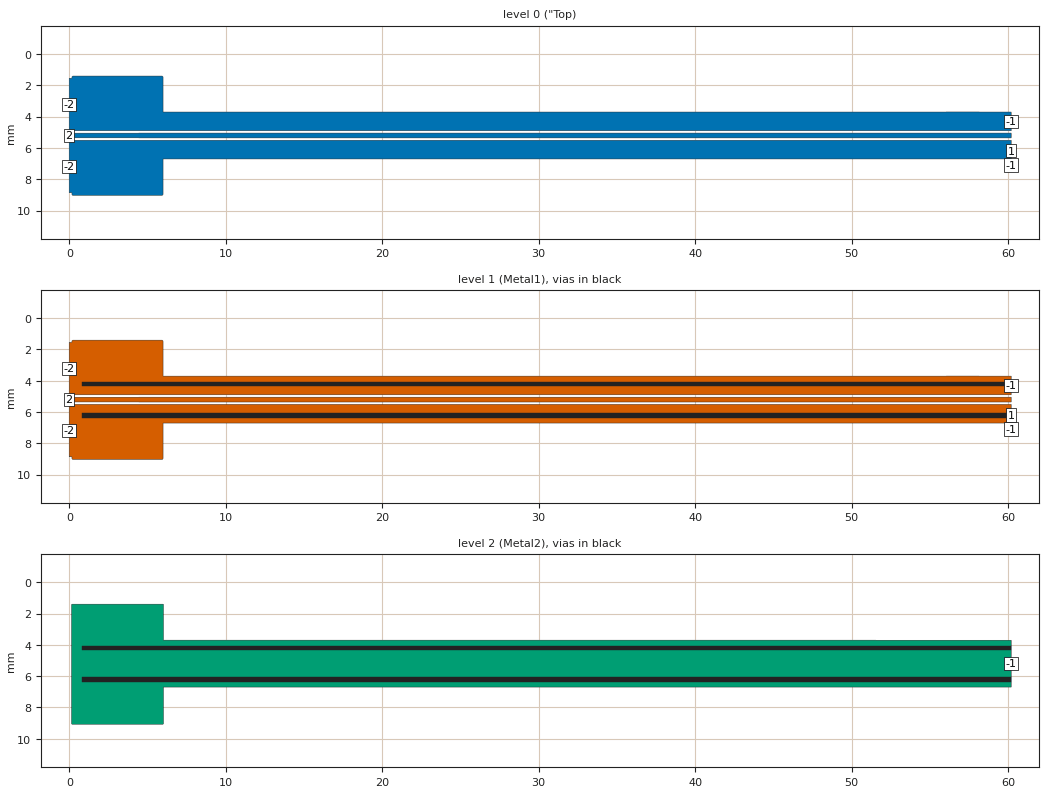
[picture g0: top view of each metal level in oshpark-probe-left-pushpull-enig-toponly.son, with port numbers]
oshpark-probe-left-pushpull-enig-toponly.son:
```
FTYP SONPROJ 18 ! Sonnet Project File
VER 17.56
HEADER
LIC antikernel2.1.50170 3cfdfeabd719 havequick azonenberg Level3Gold
DAT 02/20/2021 23:32:13
BUILT_BY_CREATED dxf 17.52.2 05/01/2020 05:35:06
BUILT_BY_SAVED sonnet 17.56
MDATE 02/18/2021 12:16:16
HDATE 02/18/2021 12:16:16
ANN Created by dxfgeo, Sonnet Software Inc.
END HEADER
DIM
ANG DEG
CAP PF
CON /OH
FREQ GHZ
IND NH
LNG MM
RES OH
END DIM
CONTROL
VARSWP
OPTIONS  -dj
SPEED 1
CACHE_ABS 1
Q_ACC N
END CONTROL
GEO
TMET "Free Space" 0 FREESPACE 376.7303136 0 0 0
BMET "Free Space" 0 FREESPACE 376.7303136 0 0 0
MET "Copper 1oz thick" 2 TMM 58000000 0.5 0.035 2
MET "Nickel " 3 TMM 14300000 0.5 3.5e-05 2
MET "Copper 0.5oz" 1 NOR 58000000 0.5 0.0175 
MET "Unknown_metal" 1 NOR INF 0.5 0 
MET "Ni-P thin" 11 NOR 500000 0.5 0.0005 
MET "Unknown_metal" 1 VOL INF 0
BRI "Alumina (96%)" 0 9.4 0.0004 0 
BRI "Alumina (99.5%)" 0 9.9 0.0001 0 
BRI "Aluminum Nitride" 0 8.6 0.0003 0 
BRI "Arlon 25FR" 0 3.58 0.0035 0 
BRI "Arlon 25N" 0 3.38 0.0025 0 
BRI "Arlon AD5" 0 5.1 0.003 0 
BRI "Arlon AD10" 0 10.2 0.005 0 
BRI "Arlon AD250" 0 2.5 0.0018 0 
BRI "Arlon AD255A" 0 2.55 0.0015 0 
BRI "Arlon AD260A" 0 2.6 0.0018 0 
BRI "Arlon AD270" 0 2.7 0.0023 0 
BRI "Arlon AD300A" 0 3 0.002 0 
BRI "Arlon AD320A" 0 3.2 0.0032 0 
BRI "Arlon AD350A" 0 3.5 0.003 0 
BRI "Arlon AD410" 0 4.1 0.003 0 
BRI "Arlon AD430" 0 4.3 0.003 0 
BRI "Arlon AD450" 0 4.5 0.0035 0 
BRI "Arlon AD600" 0 6.15 0.003 0 
BRI "Arlon AD1000" 0 10.2 0.0023 0 
BRI "Arlon AR1000" 0 9.8 0.003 0 
BRI "Arlon CLTE" 0 2.96 0.0023 0 
BRI "Arlon CLTE-AT" 0 3 0.0013 0 
BRI "Arlon CLTE-P" 0 2.94 0.0025 0 
BRI "Arlon CLTE-XT" 0 2.94 0.0012 0 
BRI "Arlon Cu 217LX" 0 2.17 0.0009 0 
BRI "Arlon Cu 233LX" 0 2.33 0.0013 0 
BRI "Arlon Cu 250GT" 0 2.5 0.001 0 
BRI "Arlon Cu 250GX" 0 2.5 0.0018 0 
BRI "Arlon Cu 6250" 0 2.32 0.0013 0 
BRI "Arlon Cu 6700" 0 2.35 0.0025 0 
BRI "Arlon Di 522" 0 2.5 0.001 0 
BRI "Arlon Di 527" 0 2.5 0.0018 0 
BRI "Arlon Di 870" 0 2.33 0.0013 0 
BRI "Arlon Di 880" 0 2.17 0.0009 0 
BRI "Arlon Iso 917" 0 2.17 0.0013 0 
BRI "Arlon Iso 933" 0 2.33 0.0016 0 
BRI "Arlon Multi HF" 0 3.7 0.004 0 
BRI "Arlon TC350" 0 3.5 0.002 0 
BRI "Arlon TC600" 0 6.15 0.002 0 
BRI "Beryllia (99.5%)" 0 6.5 0.0004 0 
BRI "CEM-1" 0 4.5 0.02 0 
BRI "CEM-3" 0 4.5 0.02 0 
BRI "Dupont 9K7" 0 7.1 0.0012 0 
BRI "Dupont 943" 0 7.4 0.002 0 
BRI "Dupont 951" 0 7.8 0.006 0 
BRI "Dupont FEP" 0 2 0.0005 0 
BRI "Dupont Vacrel" 0 3.8 0.011 0 
BRI "ESL 41010" 0 7.5 0.005 0 
BRI "ESL 41020" 0 7.25 0.005 0 
BRI "ESL 41050" 0 13.5 0.002 0 
BRI "ESL 41060" 0 16.5 0.002 0 
BRI "ESL 41110" 0 4.5 0.004 0 
BRI "Ferro A6M" 0 5.9 0.002 0 
BRI "Ferro A6S" 0 5.9 0.002 0 
BRI "Ferro L8" 0 7.3 0.0018 0 
BRI "FR-4" 0 4.4 0.02 0 
BRI "G-10" 0 4.8 0.025 0 
BRI "Gallium Arsenide" 0 12.9 0.006 0 
BRI "Gallium Nitride" 0 9.7 0 0 
BRI "Glass (Pyrex)" 0 4.82 0.0054 0 
BRI "Heraeus HL2000" 0 7.3 0.0026 0 
BRI "Isola 370HR" 0 4.04 0.021 0 
BRI "Isola FR408" 0 3.77 0.0116 0 
BRI "Isola FR408HR" 0 3.68 0.0092 0 
BRI "Isola Getek" 0 3.6 0.01 0 
BRI "Isola GI-180" 0 3.7 0.013 0 
BRI "Isola IS415" 0 3.82 0.0125 0 
BRI "Isola IS620i" 0 3.58 0.006 0 
BRI "Isola IS680-280" 0 2.8 0.0025 0 
BRI "Isola IS680-300" 0 3 0.003 0 
BRI "Isola IS680-320" 0 3.2 0.003 0 
BRI "Isola IS680-333" 0 3.33 0.003 0 
BRI "Isola IS680-338" 0 3.38 0.0032 0 
BRI "Isola IS680-345" 0 3.45 0.0036 0 
BRI "Kerafol CT800" 0 5.3 0.008 0 
BRI "Nelco MW9350" 0 3.7 0.004 0 
BRI "Nelco N4000-12" 0 3.7 0.008 0 
BRI "Nelco N4000-13" 0 3.7 0.009 0 
BRI "Nelco N4000-13SI" 0 3.2 0.007 0 
BRI "Nelco N4000-13EP" 0 3.7 0.008 0 
BRI "Nelco N4350-13RF" 0 3.5 0.0065 0 
BRI "Nelco N4380-13RF" 0 3.8 0.007 0 
BRI "Nelco N9300-13RF" 0 3 0.004 0 
BRI "Nelco N9320-13RF" 0 3.2 0.0045 0 
BRI "Nelco N9338-13RF" 0 3.38 0.0046 0 
BRI "Nelco N9350-13RF" 0 3.48 0.0055 0 
BRI "Nelco NH9294" 0 2.94 0.0022 0 
BRI "Nelco NH9300" 0 3 0.0023 0 
BRI "Nelco NH9320" 0 3.2 0.0024 0 
BRI "Nelco NH9338" 0 3.38 0.0025 0 
BRI "Nelco NH9348" 0 3.48 0.003 0 
BRI "Nelco NH9350" 0 3.5 0.003 0 
BRI "Nelco NH9410" 0 4.1 0.003 0 
BRI "Nelco NH9450" 0 4.5 0.003 0 
BRI "Nelco NX9240" 0 2.4 0.0016 0 
BRI "Nelco NX9245" 0 2.45 0.0016 0 
BRI "Nelco NX9250" 0 2.5 0.0017 0 
BRI "Nelco NX9255" 0 2.55 0.0018 0 
BRI "Nelco NX9260" 0 2.6 0.0019 0 
BRI "Nelco NY9208" 0 2.08 0.0006 0 
BRI "Nelco NY9217" 0 2.17 0.0008 0 
BRI "Nelco NY9220" 0 2.2 0.0009 0 
BRI "Nelco NY9233" 0 2.33 0.0011 0 
BRI "PET" 0 3.37 0.0208 0 
BRI "Polyimide" 0 3.5 0.003 0 
BRI "Quartz (Fused)" 0 3.78 0.0001 0 
BRI "Rogers 3001" 0 2.28 0.003 0 
BRI "Rogers RO2808" 0 7.6 0.0015 0 
BRI "Rogers RO3003" 0 3 0.0013 0 
BRI "Rogers RO3006" 0 6.5 0.002 0 
BRI "Rogers RO3010" 0 11.2 0.0022 0 
BRI "Rogers RO3035" 0 3.6 0.0018 0 
BRI "Rogers RO3203" 0 3.02 0.0016 0 
BRI "Rogers RO3206" 0 6.6 0.0027 0 
BRI "Rogers RO3210" 0 10.8 0.0027 0 
BRI "Rogers RO3730" 0 3 0.0016 0 
BRI "Rogers RO4003C" 0 3.55 0.0029 0 
BRI "Rogers RO4533" 0 3.45 0.0029 0 
BRI "Rogers RO4534" 0 3.4 0.003 0 
BRI "Rogers RO4350B" 0 3.66 0.0037 0 
BRI "Rogers RO4350BTX" 0 3.66 0.0034 0 
BRI "Rogers RO4360" 0 6.15 0.0038 0 
BRI "Rogers RO4450B-3.6" 0 3.3 0.0043 0 
BRI "Rogers RO4450B-4" 0 3.54 0.004 0 
BRI "Rogers RO4450F" 0 3.52 0.0041 0 
BRI "Rogers RO4730" 0 3 0.0033 0 
BRI "Rogers RT5870" 0 2.33 0.0012 0 
BRI "Rogers RT5880" 0 2.2 0.0009 0 
BRI "Rogers RT5880LZ" 0 1.96 0.0019 0 
BRI "Rogers RT6002" 0 2.94 0.0012 0 
BRI "Rogers RT6006" 0 6.15 0.0027 0 
BRI "Rogers RT6010LM" 0 10.9 0.0023 0 
BRI "Rogers RT6035HTC" 0 3.6 0.0013 0 
BRI "Rogers RT6202" 0 2.94 0.0015 0 
BRI "Rogers RT6202PR" 0 2.95 0.0015 0 
BRI "Rogers Syron7000" 0 3.4 0.0045 0 
BRI "Rogers Syron7100-2" 0 3.61 0.006 0 
BRI "Rogers Syron7100-4" 0 3.39 0.005 0 
BRI "Rogers Theta" 0 4.01 0.0118 0 
BRI "Rogers TMM 3" 0 3.39 0.002 0 
BRI "Rogers TMM 4" 0 4.5 0.002 0 
BRI "Rogers TMM 6" 0 6 0.0023 0 
BRI "Rogers TMM 10" 0 9.56 0.0022 0 
BRI "Rogers TMM 10i" 0 9.96 0.002 0 
BRI "Rogers UL2000" 0 2.5 0.0019 0 
BRI "Rogers UL3850" 0 3.05 0.0025 0 
BRI "Rogers UL3908" 0 2.9 0.0025 0 
BRI "Rogers XT8000" 0 3.34 0.0035 0 
BRI "Rogers XT8100-2" 0 3.54 0.0049 0 
BRI "Rogers XT8100-4" 0 3.32 0.0038 0 
BRI "Silicon (intrinsic)" 0 11.9 0.004 0.00044 
BRI "Silicon Dioxide" 0 3.9 0 0 
BRI "Silicon Nitride" 0 7.5 0 0 
BRI "Taconic CER-10" 0 10 0.0035 0 
BRI "Taconic FastFilm" 0 2.7 0.0012 0 
BRI "Taconic Fastrise-DS" 0 2.96 0.0018 0 
BRI "Taconic Fastrise27" 0 2.7 0.0014 0 
BRI "Taconic Fastrise77" 0 7.7 0.0034 0 
BRI "Taconic FEP" 0 2 0.0003 0 
BRI "Taconic RF-30" 0 3 0.0014 0 
BRI "Taconic RF-35" 0 3.5 0.0018 0 
BRI "Taconic RF-35A2" 0 3.5 0.0011 0 
BRI "Taconic RF-35P" 0 3.5 0.0025 0 
BRI "Taconic RF-41" 0 4.1 0.0038 0 
BRI "Taconic RF-43" 0 4.3 0.0033 0 
BRI "Taconic RF-45" 0 4.5 0.0037 0 
BRI "Taconic RF-60A" 0 6.15 0.0038 0 
BRI "Taconic RF-301" 0 2.97 0.0012 0 
BRI "Taconic TacBond HT" 0 2.35 0.0025 0 
BRI "Taconic TLA-6" 0 2.62 0.0012 0 
BRI "Taconic TLC-27" 0 2.75 0.003 0 
BRI "Taconic TLC-30" 0 3 0.003 0 
BRI "Taconic TLC-32" 0 3.2 0.003 0 
BRI "Taconic TLE-95" 0 2.95 0.0028 0 
BRI "Taconic TLF-34" 0 3.4 0.002 0 
BRI "Taconic TLF-35" 0 3.5 0.002 0 
BRI "Taconic TLP-3" 0 2.33 0.0009 0 
BRI "Taconic TLP-5" 0 2.2 0.0009 0 
BRI "Taconic TLP-5A" 0 2.17 0.0009 0 
BRI "Taconic TLT-0" 0 2.45 0.0006 0 
BRI "Taconic TLT-9" 0 2.5 0.0006 0 
BRI "Taconic TLT-8" 0 2.55 0.0006 0 
BRI "Taconic TLT-7" 0 2.6 0.0006 0 
BRI "Taconic TLT-6" 0 2.65 0.0006 0 
BRI "Taconic TLX-0" 0 2.45 0.0019 0 
BRI "Taconic TLX-9" 0 2.5 0.0019 0 
BRI "Taconic TLX-8" 0 2.55 0.0019 0 
BRI "Taconic TLX-7" 0 2.6 0.0019 0 
BRI "Taconic TLX-6" 0 2.65 0.0019 0 
BRI "Taconic TLY-3" 0 2.33 0.0009 0 
BRI "Taconic TLY-3F" 0 2.33 0.0009 0 
BRI "Taconic TLY-5" 0 2.2 0.0009 0 
BRI "Taconic TLY-5-L" 0 2.2 0.0009 0 
BRI "Taconic TLY-5A" 0 2.17 0.0009 0 
BRI "Taconic TLY-5A-L" 0 2.17 0.0009 0 
BRI "Taconic TPG-30" 0 3 0.0038 0 
BRI "Taconic TPG-32" 0 3.2 0.005 0 
BRI "Taconic TPG-35" 0 3.5 0.005 0 
BRI "Taconic TRF-41" 0 4.1 0.0035 0 
BRI "Taconic TRF-43" 0 4.3 0.0035 0 
BRI "Taconic TRF-45" 0 4.5 0.0035 0 
BRI "Taconic TSM-DS" 0 2.85 0.001 0 
BRI "Taconic TSM-DS3" 0 3 0.0011 0 
BRI "Taconic TSM-26" 0 2.6 0.0014 0 
BRI "Taconic TSM-29" 0 2.94 0.0013 0 
BRI "Taconic TSM-30" 0 3 0.0013 0 
BRI "Teflon (PTFE)" 0 2.08 0.0004 0 
BOX 3 60.2 10 2408 2000 20 0
      1 1 1 0 0 0 0 "Air"
      0.035 1 1 0 0 0 0 "Air"
      0.166 3.6 1 0.0092 0 0 0 "Isola FR408HR"
      1 1 1 0 0 0 0 "Air"
TECHLAY METAL "Top Plating" <UNSPECIFIED> -5 0 
0 0 4 N 2448 1 1 100 100 0 0 0 Y
END
END
TECHLAY METAL Metal1 BLACK -2 0 
1 0 0 N 2457 1 1 100 100 0 0 0 Y
END
END
TECHLAY VIA Via1 <UNSPECIFIED> -4 0 
VIA POLYGON
2 0 -1 N 2480 1 1 100 100 0 0 0 Y
TOLEVEL 1 RING NOCOVERS
END
END
TECHLAY METAL Metal2 BLACK -3 0 
2 0 2 N 2468 1 1 100 100 0 0 0 Y
END
END
LORGN 0 10 U 
POR1 BOX
POLY 2222 1
39
-2 50 0 0 0 -0.013425 3.225 
POR1 BOX
POLY 2222 1
41
-1 50 0 0 0 60.2 4.3025 
POR1 BOX
POLY 2225 1
5
2 50 0 0 0 -0.013425 5.205 
POR1 BOX
POLY 2225 1
11
1 50 0 0 0 60.2 5.205 
POR1 BOX
POLY 2226 1
19
-2 50 0 0 0 -0.013425 7.185 
POR1 BOX
POLY 2226 1
17
-1 50 0 0 0 60.2 6.1075 
POR1 BOX
POLY 1963 1
39
-2 50 0 0 0 -0.013425 3.225 
POR1 BOX
POLY 1963 1
41
-1 50 0 0 0 60.2 4.3025 
POR1 BOX
POLY 1964 1
5
2 50 0 0 0 -0.013425 5.205 
POR1 BOX
POLY 1964 1
11
1 50 0 0 0 60.2 5.205 
POR1 BOX
POLY 1965 1
19
-2 50 0 0 0 -0.013425 7.185 
POR1 BOX
POLY 1965 1
17
-1 50 0 0 0 60.2 6.1075 
POR1 BOX
POLY 1966 1
13
-1 50 0 0 0 60.2 5.202 
NUM 9
0 43 4 N 2222 1 1 100 100 0 0 0 Y
TLAYNAM "Top Plating" INH
USER_DAT FromImport
60.2 3.705
58.15 3.705
58.15 3.7
56.05 3.7
56.05 3.705
5.987575 3.705
5.98734423 3.704923077
5.98689758 3.704677419
5.986575 3.704090909
5.986575 1.476
5.984575 1.462
5.982575 1.455
5.979575 1.448
5.975575 1.441
5.971575 1.435
5.967575 1.43
5.961575 1.424
5.956575 1.42
5.950575 1.416
5.943575 1.412
5.936575 1.409
5.929575 1.407
5.915575 1.405
0.232575 1.405
0.218575 1.407
0.211575 1.409
0.204575 1.412
0.197575 1.416
0.191575 1.42
0.186575 1.424
0.180575 1.43
0.176575 1.435
0.172575 1.441
0.168575 1.448
0.165575 1.455
0.163575 1.462
0.161575 1.476
0.161575 1.484
0.161575 1.55
-0.013425 1.55
-0.013425 4.9
60.2 4.9
60.2 3.705
END
0 13 4 N 2225 1 1 100 100 0 0 0 Y
TLAYNAM "Top Plating" INH
USER_DAT FromImport
60.2 5.05
4.453575 5.05
4.438575 5.051
4.423575 5.054
4.420775 5.055
-0.013425 5.055
-0.013425 5.355
4.420775 5.355
4.423575 5.356
4.438575 5.359
4.453575 5.36
60.2 5.36
60.2 5.05
END
0 39 4 N 2226 1 1 100 100 0 0 0 Y
TLAYNAM "Top Plating" INH
USER_DAT FromImport
5.929575 9.028
5.936575 9.026
5.943575 9.023
5.950575 9.019
5.956575 9.015
5.961575 9.011
5.967575 9.005
5.971575 9
5.975575 8.994
5.979575 8.987
5.982575 8.98
5.984575 8.973
5.986575 8.959
5.986575 6.706
5.98665192 6.70576923
5.98689758 6.70532258
5.98748409 6.705
60.2 6.705
60.2 5.51
-0.013425 5.51
-0.013425 8.86
0.161575 8.86
0.161575 8.951
0.161575 8.959
0.163575 8.973
0.165575 8.98
0.168575 8.987
0.172575 8.994
0.176575 9
0.180575 9.005
0.186575 9.011
0.191575 9.015
0.197575 9.019
0.204575 9.023
0.211575 9.026
0.218575 9.028
0.232575 9.03
5.915575 9.03
5.929575 9.028
END
1 43 0 N 1963 1 1 100 100 0 0 0 Y
TLAYNAM Metal1 INH
USER_DAT FromImport
60.2 3.705
58.15 3.705
58.15 3.7
56.05 3.7
56.05 3.705
5.987575 3.705
5.98734423 3.704923077
5.98689758 3.704677419
5.986575 3.704090909
5.986575 1.476
5.984575 1.462
5.982575 1.455
5.979575 1.448
5.975575 1.441
5.971575 1.435
5.967575 1.43
5.961575 1.424
5.956575 1.42
5.950575 1.416
5.943575 1.412
5.936575 1.409
5.929575 1.407
5.915575 1.405
0.232575 1.405
0.218575 1.407
0.211575 1.409
0.204575 1.412
0.197575 1.416
0.191575 1.42
0.186575 1.424
0.180575 1.43
0.176575 1.435
0.172575 1.441
0.168575 1.448
0.165575 1.455
0.163575 1.462
0.161575 1.476
0.161575 1.484
0.161575 1.55
-0.013425 1.55
-0.013425 4.9
60.2 4.9
60.2 3.705
END
1 13 0 N 1964 1 1 100 100 0 0 0 Y
TLAYNAM Metal1 INH
USER_DAT FromImport
60.2 5.05
4.453575 5.05
4.438575 5.051
4.423575 5.054
4.420775 5.055
-0.013425 5.055
-0.013425 5.355
4.420775 5.355
4.423575 5.356
4.438575 5.359
4.453575 5.36
60.2 5.36
60.2 5.05
END
1 39 0 N 1965 1 1 100 100 0 0 0 Y
TLAYNAM Metal1 INH
USER_DAT FromImport
5.929575 9.028
5.936575 9.026
5.943575 9.023
5.950575 9.019
5.956575 9.015
5.961575 9.011
5.967575 9.005
5.971575 9
5.975575 8.994
5.979575 8.987
5.982575 8.98
5.984575 8.973
5.986575 8.959
5.986575 6.706
5.98665192 6.70576923
5.98689758 6.70532258
5.98748409 6.705
60.2 6.705
60.2 5.51
-0.013425 5.51
-0.013425 8.86
0.161575 8.86
0.161575 8.951
0.161575 8.959
0.163575 8.973
0.165575 8.98
0.168575 8.987
0.172575 8.994
0.176575 9
0.180575 9.005
0.186575 9.011
0.191575 9.015
0.197575 9.019
0.204575 9.023
0.211575 9.026
0.218575 9.028
0.232575 9.03
5.915575 9.03
5.929575 9.028
END
VIA POLYGON
2 5 -1 N 1967 1 1 100 100 0 0 0 Y
TOLEVEL 1 RING NOCOVERS
TLAYNAM Via1 INH
USER_DAT FromImport
60.2 4.055
0.836575 4.055
0.836575 4.355
60.2 4.355
60.2 4.055
END
VIA POLYGON
2 5 -1 N 1968 1 1 100 100 0 0 0 Y
TOLEVEL 1 RING NOCOVERS
TLAYNAM Via1 INH
USER_DAT FromImport
60.2 6.055
0.836575 6.055
0.836575 6.355
60.2 6.355
60.2 6.055
END
2 59 2 N 1966 1 1 100 100 0 0 0 Y
TLAYNAM Metal2 INH
5.97449989 9.07400055
5.97949905 9.07199974
5.98350067 9.07000084
5.98849983 9.06800003
5.99649925 9.06199951
5.99949951 9.05899925
6.00550003 9.05099983
6.00750084 9.04600067
6.00949974 9.04199905
6.01150055 9.03699989
6.0125 9.03200073
6.0125 6.70099945
6.01349945 6.7
60.2 6.7
60.2 3.704
51.55 3.704
51.55 3.7
6.0125 3.7
6.0125 3.69300003
6.01550026 1.456999969
6.01550026 1.443000031
6.01349945 1.432999802
6.01150055 1.429000092
6.00850029 1.424000931
6.00649948 1.419999313
6.00349922 1.415999603
6.00249977 1.415999603
5.99949951 1.412999344
5.99150009 1.407000732
5.98750038 1.404999924
5.98249931 1.402999115
5.9784996 1.401000214
5.97350044 1.400000763
0.18050022 1.400000763
0.17550011 1.401000214
0.17049999 1.402999115
0.16650028 1.404999924
0.16150017 1.407000732
0.15349979 1.412999344
0.15049953 1.415999603
0.14449997 1.424000931
0.14250011 1.429000092
0.14050026 1.432999802
0.1385004 1.43800087
0.1375 1.443000031
0.1375 9.03200073
0.1385004 9.03699989
0.14050026 9.04199905
0.14250011 9.04600067
0.14449997 9.05099983
0.15049953 9.05899925
0.15349979 9.06199951
0.16150017 9.06800003
0.16650028 9.07000084
0.17049999 9.07199974
0.17550011 9.07400055
0.18050022 9.075
5.96950073 9.075
5.97449989 9.07400055
END
END GEO
OPT
MAX 100
END OPT
VARSWP
ENABLED Y
FREQ N AY ABS_ENTRY 0.1 10.0 -1 300 
FREQ Y AN SWEEP 0.1 10.0 1.0
END
END VARSWP
3DOPTIONS
GLOBAL 5
ALL 3 1
END 3DOPTIONS
```
